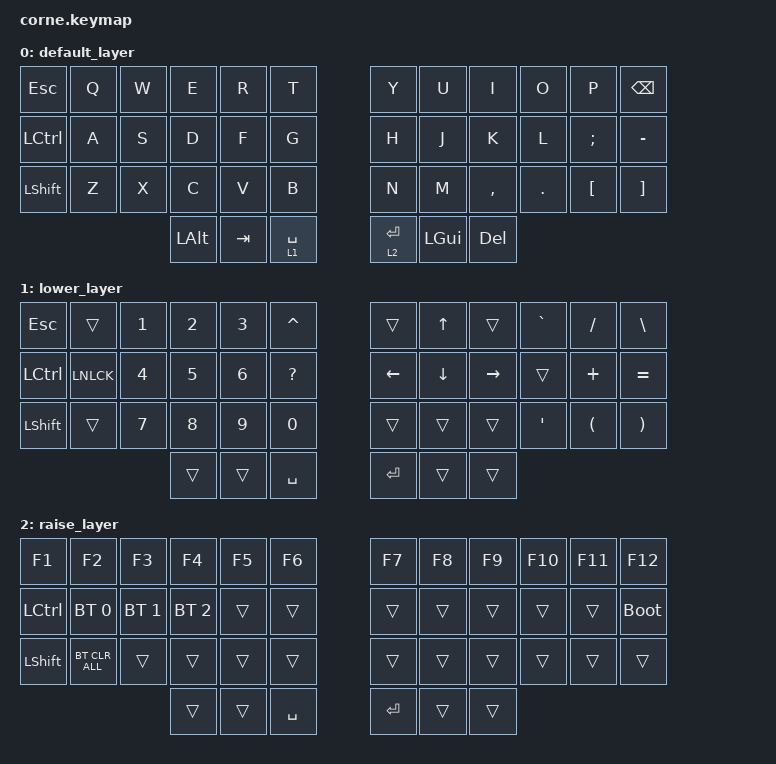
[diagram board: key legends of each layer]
/*
 * Copyright (c) 2020 The ZMK Contributors
 *
 * SPDX-License-Identifier: MIT
 */

#include <behaviors.dtsi>
#include <dt-bindings/zmk/keys.h>
#include <dt-bindings/zmk/bt.h>
#include <dt-bindings/zmk/ext_power.h>

/ {
        keymap {
                compatible = "zmk,keymap";

                default_layer {
// -----------------------------------------------------------------------------------------
// |  ESC |  Q  |  W  |  E  |  R  |  T  |   |  Y  |  U   |  I  |  O  |  P  | BSPC |
// | CTRL |  A  |  S  |  D  |  F  |  G  |   |  H  |  J   |  K  |  L  |  ;  |  -   |
// | SHFT |  Z  |  X  |  C  |  V  |  B  |   |  N  |  M   |  ,  |  .  |  [  | ]  |
//                    | LALT | TAB | SPC |   | ENT | GUI  | DEL |
                        bindings = <
   &kp ESC   &kp Q &kp W &kp E &kp R &kp T   &kp Y &kp U  &kp I     &kp O   &kp P    &kp BSPC
   &kp LCTRL &kp A &kp S &kp D &kp F &kp G   &kp H &kp J  &kp K     &kp L   &kp SEMI &kp MINUS
   &kp LSHFT &kp Z &kp X &kp C &kp V &kp B   &kp N &kp M  &kp COMMA &kp DOT &kp LBKT &kp RBKT
              &kp LALT &kp TAB &lt 1 SPACE   &lt 2 RET &kp LGUI &kp DEL
                        >;
                };
                lower_layer {
// -----------------------------------------------------------------------------------------
// |  ESC |      | 1 | 2 | 3 | ^ |      |     |  UP  |     | ` | / | | |
// | CTRL | NLCK | 4 | 5 | 6 | ? |      | LFT | DWN  | RGT |   | + | = |
// | SHFT |      | 7 | 8 | 9 | 0 |      |     |      |     | ' | ( | ) |
//                 |   |   | SPC |      | ENT |   |   |
                        bindings = <
   &kp ESC    &trans    &kp N1  &kp N2  &kp N3 &kp CARET     &trans   &kp UP   &trans    &kp GRAVE &kp FSLH &kp BSLH
   &kp LCTRL  &kp LNLCK &kp N4  &kp N5  &kp N6 &kp QMARK     &kp LEFT &kp DOWN &kp RIGHT &trans    &kp PLUS &kp EQUAL
   &kp LSHFT  &trans    &kp N7  &kp N8  &kp N9 &kp N0        &trans   &trans   &trans    &kp SQT   &kp LPAR &kp RPAR
                                &trans  &trans &kp SPACE     &kp RET  &trans   &trans
                        >;
                };

                raise_layer {
// -----------------------------------------------------------------------------------------
// |  F1  |   F2   | F3  | F4  | F5 | F6 |   | F7 | F8 | F9 | F10 | F11 | F12  |
// | CTRL |   BT0  | BT1 | BT2 |    |    |   |    |    |    |     |     | BOOT |
// | SHFT | BT_CLR |     |     |    |    |   |    |    |    |     |     |     |
//                |    |     | SPC |   | ENT |    |    |
                        bindings = <
   &kp  F1   &kp F2           &kp F3       &kp F4       &kp F5 &kp F6   &kp F7 &kp F8  &kp F9 &kp F10 &kp F11 &kp F12
   &kp LCTRL &bt BT_SEL 0     &bt BT_SEL 1 &bt BT_SEL 2 &trans &trans   &trans &trans &trans &trans &trans &bootloader
   &kp LSHFT &bt BT_CLR_ALL   &trans       &trans       &trans &trans   &trans &trans &trans &trans &trans &trans
                                              &trans &trans &kp SPACE   &kp RET &trans &trans
                        >;
                };
        };
};
